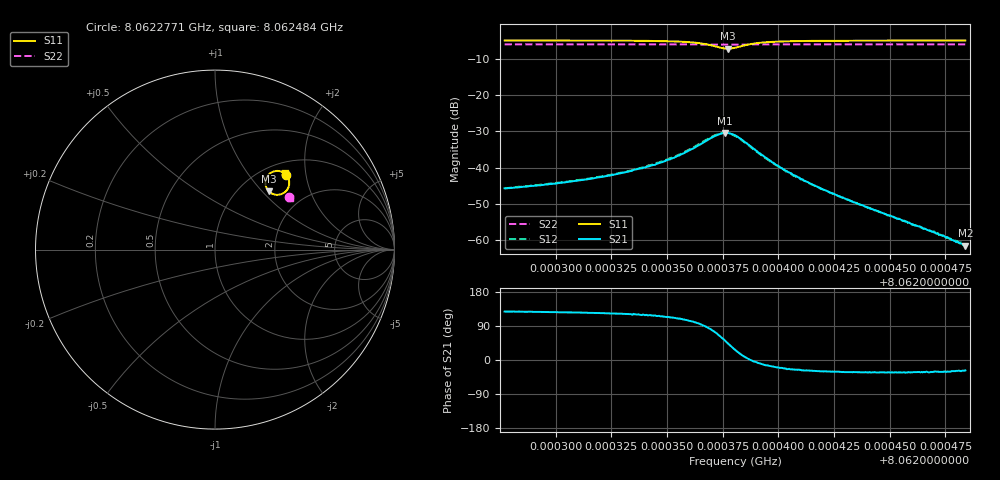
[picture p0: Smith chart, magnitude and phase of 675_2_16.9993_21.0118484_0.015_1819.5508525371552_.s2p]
#  HZ  S  RI  R  50.00
! Rohde & Schwarz Vector Network Analyzer
! Rohde-Schwarz,ZNB20-2Port,1311601062101988,3.16
! Created: UTC 3/20/2024, 11:22:19 PM
! freq[Hz]  re:S11  im:S11  re:S21  im:S21  re:S12  im:S12  re:S22  im:S22
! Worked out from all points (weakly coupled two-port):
!   401 points, 8.0622771 GHz to 8.062484 GHz, reference 50 ohm
!   highest |S21| = -30.42 dB at 8.0623759 GHz (marker M1); lowest = -61.6 dB at 8.062484 GHz (marker M2)
!   lowest |S11| = -7.1 dB at 8.0623774 GHz (marker M3), VSWR 2.59, Z = 67.6 + j54.6 ohm
!   |S11| at or under -10 dB: nowhere
!   |S22| runs from -6.0 to -5.9 dB; largest |S21 - S12| = 0.0037
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8.06227714e9  0.3966 0.4171  -0.00317 0.00407  -0.00295 0.00432  0.414 0.2958
8.06229369e9  0.3992 0.414  -0.00343 0.00459  -0.00316 0.00489  0.4147 0.2948
8.06231179e9  0.4026 0.4093  -0.00386 0.0055  -0.00353 0.00582  0.4154 0.2935
8.06233247e9  0.4079 0.3998  -0.00452 0.00747  -0.00412 0.00791  0.4161 0.2922
8.06234643e9  0.4124 0.3867  -0.00519 0.0103  -0.00448 0.0109  0.4165 0.2908
8.06235522e9  0.414 0.3708  -0.00476 0.0138  -0.00399 0.0145  0.4168 0.2898
8.06236556e9  0.4023 0.3343  -0.0012 0.0215  0.000807 0.0222  0.416 0.2876
8.06237176e9  0.3632 0.3071  0.00827 0.0263  0.0114 0.0259  0.4136 0.2866
8.06237383e9  0.3407 0.3056  0.0134 0.026  0.0165 0.0249  0.4128 0.2872
8.0623759e9  0.3165 0.3126  0.0185 0.0238  0.0214 0.0215  0.4119 0.2877
8.06237745e9  0.3003 0.3246  0.0218 0.0207  0.0241 0.018  0.4114 0.2886
8.06238055e9  0.2821 0.3584  0.025 0.0128  0.0257 0.00957  0.4114 0.29
8.06238572e9  0.2909 0.4068  0.0217 0.00218  0.0213 7.23e-05  0.4128 0.2917
8.06239141e9  0.3152 0.4301  0.0157 -0.00231  0.0152 -0.00354  0.4144 0.292
8.06239813e9  0.3369 0.4375  0.0109 -0.00349  0.0104 -0.00424  0.4156 0.2917
8.0624033e9  0.3478 0.4384  0.00837 -0.00345  0.00791 -0.00393  0.4163 0.2913
8.06240744e9  0.3546 0.438  0.00701 -0.00333  0.00671 -0.0036  0.4167 0.291
8.06241519e9  0.3635 0.4364  0.00516 -0.00277  0.00493 -0.00303  0.4174 0.2905
8.06243277e9  0.3749 0.4326  0.00291 -0.00181  0.00279 -0.00199  0.4184 0.2892
8.06244983e9  0.3811 0.4295  0.00183 -0.00116  0.00176 -0.00126  0.4191 0.2881
8.06246948e9  0.3857 0.4267  0.00111 -0.000675  0.00105 -0.000773  0.4199 0.2869
8.06248396e9  0.3881 0.425  0.000739 -0.000385  0.000684 -0.000445  0.4204 0.2862
